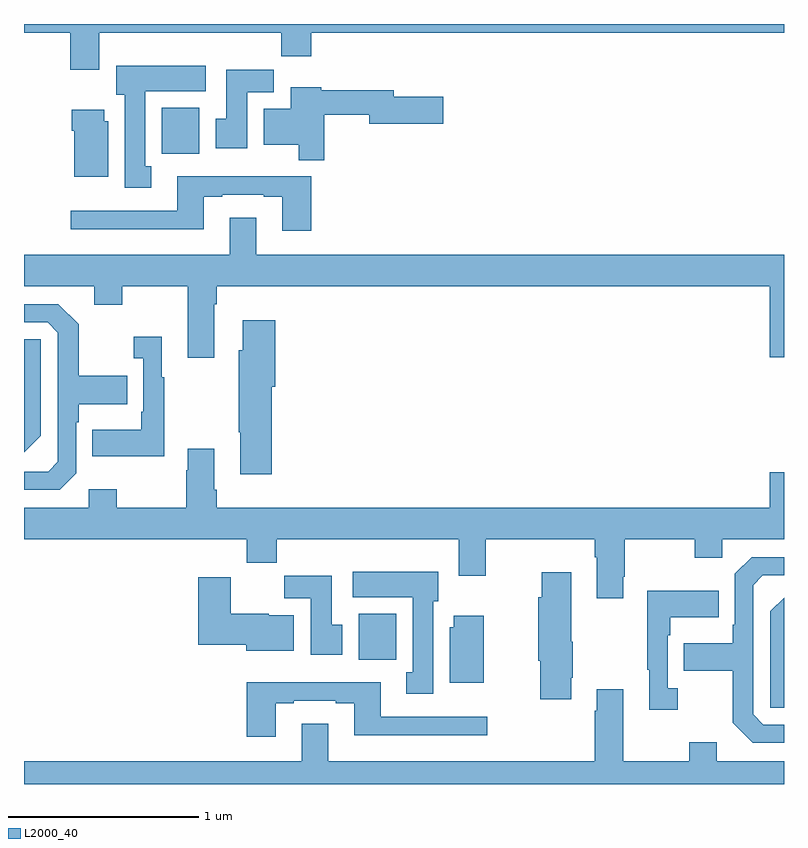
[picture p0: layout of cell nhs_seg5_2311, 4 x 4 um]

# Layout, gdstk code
import gdstk
lib = gdstk.Library(unit=1e-6, precision=1e-09)
def R(c, l, rs):  # rectangles x0, y0, x1, y1
    for r in rs: c.add(gdstk.rectangle(r[:2], r[2:], *l))
def P(c, l, *ps):  # polygons
    for p in ps: c.add(gdstk.Polygon(p, *l))
L2000_40 = (2000, 40)

nhs_seg5_2311 = lib.new_cell('nhs_seg5_2311')
R(nhs_seg5_2311, L2000_40, [(246.761,861.452,246.958,861.694), (245.726,864.116,245.923,864.358)])
P(nhs_seg5_2311, L2000_40, [(245.395,864.752),(246.355,864.752),(246.355,864.628),(246.512,864.628),(246.512,864.752),(249,864.752),(249,864.799),(245,864.799),(245,864.752),(245.243,864.752),(245.243,864.558),(245.395,864.558)],
  [(245.671,864.05),(245.638,864.05),(245.638,864.446),(245.956,864.446),(245.956,864.58),(245.486,864.58),(245.486,864.426),(245.531,864.426),(245.531,863.937),(245.671,863.937)],
  [(246.175,864.44),(246.314,864.44),(246.314,864.559),(246.065,864.559),(246.065,864.3),(246.008,864.3),(246.008,864.144),(246.175,864.144)],
  [(246.581,864.322),(246.818,864.322),(246.818,864.275),(247.207,864.275),(247.207,864.417),(246.946,864.417),(246.946,864.451),(246.564,864.451),(246.564,864.466),(246.404,864.466),(246.404,864.352),(246.263,864.352),(246.263,864.164),(246.446,864.164),(246.446,864.082),(246.581,864.082)],
  [(245.443,864.288),(245.422,864.288),(245.422,864.349),(245.252,864.349),(245.252,864.236),(245.264,864.236),(245.264,863.996),(245.443,863.996)],
  [(246.512,863.997),(246.395,863.997),(246.395,863.998),(245.807,863.998),(245.807,863.817),(245.247,863.817),(245.247,863.72),(245.947,863.72),(245.947,863.889),(246.043,863.889),(246.043,863.901),(246.263,863.901),(246.263,863.889),(246.359,863.889),(246.359,863.712),(246.512,863.712)],
  [(246.001,863.324),(246.014,863.324),(246.014,863.42),(248.924,863.42),(248.924,863.046),(249,863.046),(249,863.584),(246.223,863.584),(246.223,863.779),(246.083,863.779),(246.083,863.584),(245,863.584),(245,863.42),(245.369,863.42),(245.369,863.321),(245.517,863.321),(245.517,863.42),(245.861,863.42),(245.861,863.043),(246.001,863.043)],
  [(245.274,862.434),(245.274,862.703),(245.287,862.703),(245.287,862.799),(245.543,862.799),(245.543,862.947),(245.287,862.947),(245.287,863.219),(245.181,863.325),(245,863.325),(245,863.229),(245.124,863.229),(245.178,863.175),(245.178,862.494),(245.127,862.443),(245,862.443),(245,862.347),(245.187,862.347)],
  [(246.305,862.89),(246.323,862.89),(246.323,863.239),(246.152,863.239),(246.152,863.082),(246.13,863.082),(246.13,862.651),(246.137,862.651),(246.137,862.428),(246.305,862.428)],
  [(245.737,862.939),(245.725,862.939),(245.725,863.152),(245.577,863.152),(245.577,863.039),(245.628,863.039),(245.628,862.759),(245.616,862.759),(245.616,862.663),(245.359,862.663),(245.359,862.523),(245.737,862.523)],
  [(245.088,862.632),(245.088,863.139),(245,863.139),(245,862.544)],
  [(248.155,861.889),(248.163,861.889),(248.163,862.088),(248.53,862.088),(248.53,861.989),(248.676,861.989),(248.676,862.088),(249,862.088),(249,862.441),(248.924,862.441),(248.924,862.252),(246.014,862.252),(246.014,862.348),(246.001,862.348),(246.001,862.564),(245.861,862.564),(245.861,862.451),(245.854,862.451),(245.854,862.252),(245.487,862.252),(245.487,862.351),(245.34,862.351),(245.34,862.252),(245,862.252),(245,862.088),(246.173,862.088),(246.173,861.964),(246.329,861.964),(246.329,862.088),(247.289,862.088),(247.289,861.894),(247.429,861.894),(247.429,862.088),(248.003,862.088),(248.003,861.992),(248.015,861.992),(248.015,861.777),(248.155,861.777)],
  [(249,861.111),(248.892,861.111),(248.838,861.165),(248.838,861.846),(248.889,861.897),(249,861.897),(249,861.993),(248.829,861.993),(248.742,861.906),(248.742,861.637),(248.73,861.637),(248.73,861.541),(248.473,861.541),(248.473,861.394),(248.73,861.394),(248.73,861.121),(248.835,861.015),(249,861.015)],
  [(247.153,861.762),(247.18,861.762),(247.18,861.916),(246.729,861.916),(246.729,861.782),(247.046,861.782),(247.046,861.386),(247.013,861.386),(247.013,861.273),(247.153,861.273)],
  [(247.879,861.358),(247.887,861.358),(247.887,861.547),(247.879,861.547),(247.879,861.913),(247.724,861.913),(247.724,861.783),(247.706,861.783),(247.706,861.447),(247.717,861.447),(247.717,861.246),(247.879,861.246)],
  [(246.676,861.636),(246.619,861.636),(246.619,861.895),(246.37,861.895),(246.37,861.776),(246.509,861.776),(246.509,861.48),(246.676,861.48)],
  [(246.421,861.688),(246.288,861.688),(246.288,861.694),(246.088,861.694),(246.088,861.886),(245.918,861.886),(245.918,861.533),(246.17,861.533),(246.17,861.5),(246.421,861.5)],
  [(248.44,861.302),(248.388,861.302),(248.388,861.581),(248.401,861.581),(248.401,861.677),(248.657,861.677),(248.657,861.817),(248.28,861.817),(248.28,861.401),(248.291,861.401),(248.291,861.189),(248.44,861.189)],
  [(249,861.78),(248.928,861.708),(248.928,861.201),(249,861.201)],
  [(247.42,861.685),(247.262,861.685),(247.262,861.624),(247.241,861.624),(247.241,861.332),(247.42,861.332)],
  [(246.325,861.225),(246.421,861.225),(246.421,861.237),(246.641,861.237),(246.641,861.225),(246.737,861.225),(246.737,861.056),(247.438,861.056),(247.438,861.153),(246.877,861.153),(246.877,861.334),(246.173,861.334),(246.173,861.048),(246.325,861.048)],
  [(249,860.92),(248.647,860.92),(248.647,861.019),(248.5,861.019),(248.5,860.92),(248.155,860.92),(248.155,861.298),(248.015,861.298),(248.015,861.185),(248.003,861.185),(248.003,860.92),(246.601,860.92),(246.601,861.115),(246.461,861.115),(246.461,860.92),(245,860.92),(245,860.799),(249,860.799)])

lib.write_gds('nhs_seg5_2311.gds')
